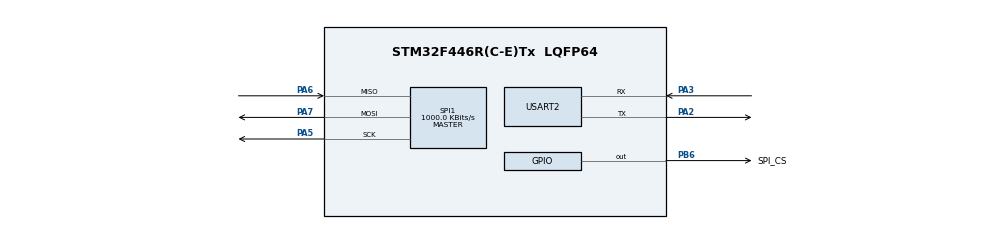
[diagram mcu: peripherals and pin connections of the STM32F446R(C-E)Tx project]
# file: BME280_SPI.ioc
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Mcu.Family=STM32F4
Mcu.Name=STM32F446R(C-E)Tx
Mcu.Package=LQFP64
NVIC.PriorityGroup=NVIC_PRIORITYGROUP_4
NVIC.TIM1_BRK_TIM9_IRQn=true\:0\:0\:false\:false\:true\:true\:true\:true
PA2.Mode=Asynchronous
PA2.Signal=USART2_TX
PA3.Mode=Asynchronous
PA3.Signal=USART2_RX
PA5.Mode=Full_Duplex_Master
PA5.Signal=SPI1_SCK
PA6.Mode=Full_Duplex_Master
PA6.Signal=SPI1_MISO
PA7.Mode=Full_Duplex_Master
PA7.Signal=SPI1_MOSI
PB6.GPIO_Label=SPI_CS
PB6.Signal=GPIO_Output
ProjectManager.HeapSize=0x200
ProjectManager.StackSize=0x400
ProjectManager.TargetToolchain=STM32CubeIDE
RCC.CortexFreq_Value=16000000
RCC.USBFreq_Value=96000000
RCC.VCOOutputFreq_Value=192000000
SPI1.BaudRatePrescaler=SPI_BAUDRATEPRESCALER_16
SPI1.CalculateBaudRate=1000.0 KBits/s
SPI1.Direction=SPI_DIRECTION_2LINES
SPI1.Mode=SPI_MODE_MASTER
SPI1.VirtualType=VM_MASTER
TIM9.Period=10-1
TIM9.Prescaler=16000-1
USART2.VirtualMode=VM_ASYNC
VP_TIM9_VS_ClockSourceINT.Mode=Internal
board=custom

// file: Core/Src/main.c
/* USER CODE BEGIN Header */
/**
  ******************************************************************************
  * @file           : main.c
  * @brief          : Main program body
  ******************************************************************************
  * @attention
  *
  * Copyright (c) 2022 STMicroelectronics.
  * All rights reserved.
  *
  * This software is licensed under terms that can be found in the LICENSE file
  * in the root directory of this software component.
  * If no LICENSE file comes with this software, it is provided AS-IS.
  *
  ******************************************************************************
  */
/* USER CODE END Header */
#include "main.h"

/* USER CODE BEGIN Includes */
#include "bme280.h"
#include <stdio.h>
#include <string.h>
#include <inttypes.h>

/* USER CODE END Includes */

SPI_HandleTypeDef hspi1;
TIM_HandleTypeDef htim9;
UART_HandleTypeDef huart2;

/* USER CODE BEGIN PV */
Bme280DeviceData bme280Device;
CommStatus bme280CommStatus = NOK;
char message[40] = "";
uint8_t counterTimer1 = 0;
uint8_t counterTimer2 = 0;

const uint32_t timeoutUart = 100;
const uint8_t delay2s = 200;
const uint8_t delay100ms = 10;

/* USER CODE END PV */

void SystemClock_Config(void);
static void MX_GPIO_Init(void);
static void MX_SPI1_Init(void);
static void MX_TIM9_Init(void);
static void MX_USART2_UART_Init(void);

/* USER CODE BEGIN 0 */

/*
 * Timer interrupt handling (10ms)
 */
void HAL_TIM_PeriodElapsedCallback(TIM_HandleTypeDef *htim)
{
	if (htim == &htim9)
	{
		counterTimer1++;
		counterTimer2++;
	}
}

/* USER CODE END 0 */

int main(void)
{

  /* MCU Configuration--------------------------------------------------------*/

  /* Reset of all peripherals, Initializes the Flash interface and the Systick. */
  HAL_Init();

  /* Configure the system clock */
  SystemClock_Config();

  /* Initialize all configured peripherals */
  MX_GPIO_Init();
  MX_SPI1_Init();
  MX_TIM9_Init();
  MX_USART2_UART_Init();
  /* USER CODE BEGIN 2 */

  bme280CommStatus = bme280Init(&hspi1, &bme280Device);
  HAL_TIM_Base_Start_IT(&htim9);

  /* USER CODE END 2 */

  /* Infinite loop */
  while (1)
  {

    /* USER CODE BEGIN 3 */

	  if (counterTimer2 >= delay100ms)
	  {
		  if (bme280CommStatus == NOK)
		  {
			  bme280CommStatus = bme280Init(&hspi1, &bme280Device);
		  }
		  else if (bme280GetStatus(&hspi1, &bme280Device) == AVAILABLE)
		  {
			  bme280ReadPressure(&hspi1, &bme280Device);
			  bme280ReadHumidity(&hspi1, &bme280Device);
		  }

		  counterTimer2 = 0;
	  }

	  if (counterTimer1 >= delay2s)
	  {
		  sprintf(message, "Temperature = %.2f Celsius degree\r\n", (((float) bme280Device.temperature) / 100));
		  HAL_UART_Transmit(&huart2, ((uint8_t *) message), strlen(message), timeoutUart);

		  sprintf(message, "Pressure    = %"PRIu32" Pascal\r\n", bme280Device.pressure);
		  HAL_UART_Transmit(&huart2, ((uint8_t *) message), strlen(message), timeoutUart);

		  sprintf(message, "Humidity    = %.2f%%\r\n\r\n", (((float) bme280Device.humidity) /10));
		  HAL_UART_Transmit(&huart2, ((uint8_t *) message), strlen(message), timeoutUart);

		  counterTimer1 = 0;
	  }
  }
  /* USER CODE END 3 */
}

void SystemClock_Config(void)
{
  RCC_OscInitTypeDef RCC_OscInitStruct = {0};
  RCC_ClkInitTypeDef RCC_ClkInitStruct = {0};

  /** Configure the main internal regulator output voltage
  */
  __HAL_RCC_PWR_CLK_ENABLE();
  __HAL_PWR_VOLTAGESCALING_CONFIG(PWR_REGULATOR_VOLTAGE_SCALE3);

  /** Initializes the RCC Oscillators according to the specified parameters
  * in the RCC_OscInitTypeDef structure.
  */
  RCC_OscInitStruct.OscillatorType = RCC_OSCILLATORTYPE_HSI;
  RCC_OscInitStruct.HSIState = RCC_HSI_ON;
  RCC_OscInitStruct.HSICalibrationValue = RCC_HSICALIBRATION_DEFAULT;
  RCC_OscInitStruct.PLL.PLLState = RCC_PLL_NONE;
  if (HAL_RCC_OscConfig(&RCC_OscInitStruct) != HAL_OK)
  {
    Error_Handler();
  }

  /** Initializes the CPU, AHB and APB buses clocks
  */
  RCC_ClkInitStruct.ClockType = RCC_CLOCKTYPE_HCLK|RCC_CLOCKTYPE_SYSCLK
                              |RCC_CLOCKTYPE_PCLK1|RCC_CLOCKTYPE_PCLK2;
  RCC_ClkInitStruct.SYSCLKSource = RCC_SYSCLKSOURCE_HSI;
  RCC_ClkInitStruct.AHBCLKDivider = RCC_SYSCLK_DIV1;
  RCC_ClkInitStruct.APB1CLKDivider = RCC_HCLK_DIV1;
  RCC_ClkInitStruct.APB2CLKDivider = RCC_HCLK_DIV1;

  if (HAL_RCC_ClockConfig(&RCC_ClkInitStruct, FLASH_LATENCY_0) != HAL_OK)
  {
    Error_Handler();
  }
}

static void MX_SPI1_Init(void)
{

  /* SPI1 parameter configuration*/
  hspi1.Instance = SPI1;
  hspi1.Init.Mode = SPI_MODE_MASTER;
  hspi1.Init.Direction = SPI_DIRECTION_2LINES;
  hspi1.Init.DataSize = SPI_DATASIZE_8BIT;
  hspi1.Init.CLKPolarity = SPI_POLARITY_LOW;
  hspi1.Init.CLKPhase = SPI_PHASE_1EDGE;
  hspi1.Init.NSS = SPI_NSS_SOFT;
  hspi1.Init.BaudRatePrescaler = SPI_BAUDRATEPRESCALER_16;
  hspi1.Init.FirstBit = SPI_FIRSTBIT_MSB;
  hspi1.Init.TIMode = SPI_TIMODE_DISABLE;
  hspi1.Init.CRCCalculation = SPI_CRCCALCULATION_DISABLE;
  hspi1.Init.CRCPolynomial = 10;
  if (HAL_SPI_Init(&hspi1) != HAL_OK)
  {
    Error_Handler();
  }

}

static void MX_TIM9_Init(void)
{

  TIM_ClockConfigTypeDef sClockSourceConfig = {0};

  htim9.Instance = TIM9;
  htim9.Init.Prescaler = 16000-1;
  htim9.Init.CounterMode = TIM_COUNTERMODE_UP;
  htim9.Init.Period = 10-1;
  htim9.Init.ClockDivision = TIM_CLOCKDIVISION_DIV1;
  htim9.Init.AutoReloadPreload = TIM_AUTORELOAD_PRELOAD_DISABLE;
  if (HAL_TIM_Base_Init(&htim9) != HAL_OK)
  {
    Error_Handler();
  }
  sClockSourceConfig.ClockSource = TIM_CLOCKSOURCE_INTERNAL;
  if (HAL_TIM_ConfigClockSource(&htim9, &sClockSourceConfig) != HAL_OK)
  {
    Error_Handler();
  }

}

static void MX_USART2_UART_Init(void)
{

  huart2.Instance = USART2;
  huart2.Init.BaudRate = 115200;
  huart2.Init.WordLength = UART_WORDLENGTH_8B;
  huart2.Init.StopBits = UART_STOPBITS_1;
  huart2.Init.Parity = UART_PARITY_NONE;
  huart2.Init.Mode = UART_MODE_TX_RX;
  huart2.Init.HwFlowCtl = UART_HWCONTROL_NONE;
  huart2.Init.OverSampling = UART_OVERSAMPLING_16;
  if (HAL_UART_Init(&huart2) != HAL_OK)
  {
    Error_Handler();
  }

}

static void MX_GPIO_Init(void)
{
  GPIO_InitTypeDef GPIO_InitStruct = {0};

  /* GPIO Ports Clock Enable */
  __HAL_RCC_GPIOA_CLK_ENABLE();
  __HAL_RCC_GPIOB_CLK_ENABLE();

  /*Configure GPIO pin Output Level */
  HAL_GPIO_WritePin(SPI_CS_GPIO_Port, SPI_CS_Pin, GPIO_PIN_RESET);

  /*Configure GPIO pin : SPI_CS_Pin */
  GPIO_InitStruct.Pin = SPI_CS_Pin;
  GPIO_InitStruct.Mode = GPIO_MODE_OUTPUT_PP;
  GPIO_InitStruct.Pull = GPIO_NOPULL;
  GPIO_InitStruct.Speed = GPIO_SPEED_FREQ_LOW;
  HAL_GPIO_Init(SPI_CS_GPIO_Port, &GPIO_InitStruct);

}

void Error_Handler(void)
{
  __disable_irq();
  while (1)
  {
  }
}
